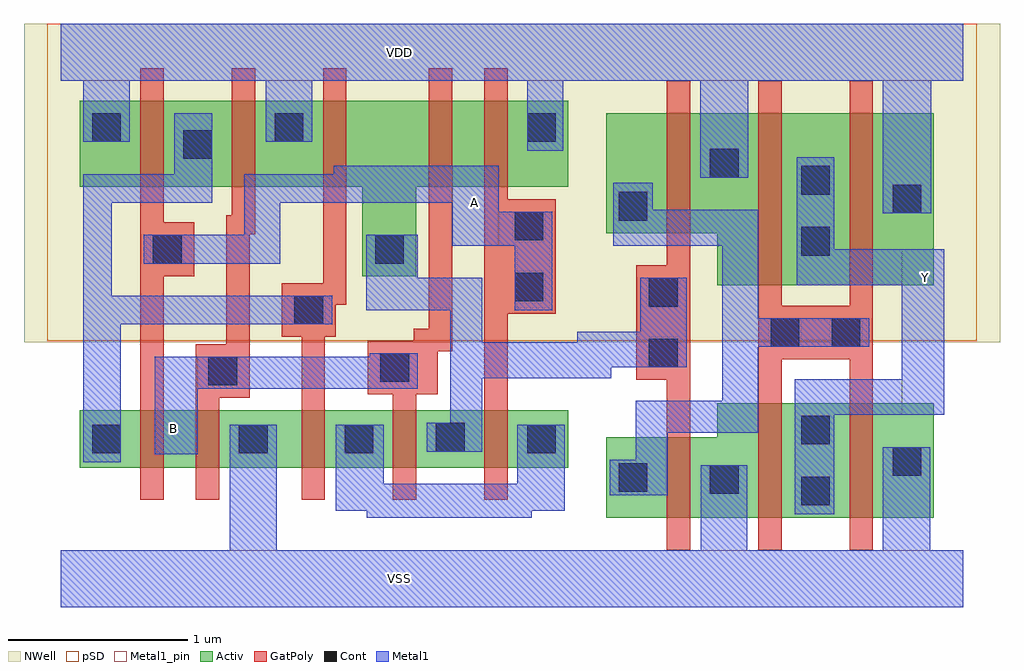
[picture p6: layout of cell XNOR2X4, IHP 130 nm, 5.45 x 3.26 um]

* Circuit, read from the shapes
.subckt XNOR2X4 A B VDD VSS Y
XM1 n1 A n2 VSUBS sg13_lv_nmos w=0.32u l=0.13u
XM2 VSS B n1 VSUBS sg13_lv_nmos w=0.32u l=0.13u
XM3 n3 n2 VSS VSUBS sg13_lv_nmos w=0.32u l=0.13u
XM4 n4 B n3 VSUBS sg13_lv_nmos w=0.32u l=0.13u
XM5 n3 A n4 VSUBS sg13_lv_nmos w=0.32u l=0.13u
XM6 VSS n4 n5 VSUBS sg13_lv_nmos w=0.45u l=0.13u
XM7 Y n5 VSS VSUBS sg13_lv_nmos w=0.64u l=0.13u m=2
XM8 n2 A VDD n6 sg13_lv_pmos w=0.48u l=0.13u
XM9 VDD B n2 n6 sg13_lv_pmos w=0.48u l=0.13u
XM10 n4 n2 VDD n6 sg13_lv_pmos w=0.48u l=0.13u
XM11 n7 B n4 n6 sg13_lv_pmos w=0.48u l=0.13u
XM12 VDD A n7 n6 sg13_lv_pmos w=0.48u l=0.13u
XM13 VDD n4 n5 n6 sg13_lv_pmos w=0.67u l=0.13u
XM14 Y n5 VDD n6 sg13_lv_pmos w=0.96u l=0.13u m=2
.ends

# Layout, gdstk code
import gdstk
lib = gdstk.Library(unit=1e-6, precision=1e-09)
def R(c, l, rs):  # rectangles x0, y0, x1, y1
    for r in rs: c.add(gdstk.rectangle(r[:2], r[2:], *l))
def P(c, l, *ps):  # polygons
    for p in ps: c.add(gdstk.Polygon(p, *l))
Activ = (1, 0)
GatPoly = (5, 0)
Cont = (6, 0)
Metal1 = (8, 0)
Metal1_pin = (8, 2)
pSD = (14, 0)
NWell = (31, 0)

xnor2x4 = lib.new_cell('XNOR2X4')
R(xnor2x4, Activ, [(0.105,0.62,2.835,0.94)])
P(xnor2x4, Activ, [(3.045,0.34),(3.045,0.79),(3.665,0.79),(3.665,0.98),(4.875,0.98),(4.875,0.34)],
  [(3.665,1.64),(3.665,1.93),(3.045,1.93),(3.045,2.6),(4.875,2.6),(4.875,1.64)],
  [(1.685,1.69),(1.685,2.19),(0.105,2.19),(0.105,2.67),(2.835,2.67),(2.835,2.19),(1.985,2.19),(1.985,1.69)])
P(xnor2x4, GatPoly, [(3.895,0.16),(3.895,2.78),(4.025,2.78),(4.025,1.525),(4.405,1.525),(4.405,2.78),(4.535,2.78),(4.535,0.16),(4.405,0.16),(4.405,1.225),(4.025,1.225),(4.025,0.16)],
  [(2.365,0.44),(2.365,2.85),(2.495,2.85),(2.495,2.12),(2.765,2.12),(2.765,1.48),(2.495,1.48),(2.495,0.44)],
  [(1.855,0.44),(1.855,1.03),(1.715,1.03),(1.715,1.33),(1.97,1.33),(1.97,1.395),(2.055,1.395),(2.055,2.85),(2.185,2.85),(2.185,1.27),(2.105,1.27),(2.105,1.03),(1.985,1.03),(1.985,0.44)],
  [(1.345,0.44),(1.345,1.35),(1.235,1.35),(1.235,1.65),(1.465,1.65),(1.465,2.85),(1.595,2.85),(1.595,1.53),(1.535,1.53),(1.535,1.35),(1.475,1.35),(1.475,0.44)],
  [(3.385,0.16),(3.385,1.11),(3.215,1.11),(3.215,1.75),(3.385,1.75),(3.385,2.78),(3.515,2.78),(3.515,0.16)],
  [(0.755,0.44),(0.755,1.31),(0.925,1.31),(0.925,2.03),(0.955,2.03),(0.955,2.85),(1.085,2.85),(1.085,1.925),(1.055,1.925),(1.055,1.01),(0.885,1.01),(0.885,0.44)],
  [(0.445,0.44),(0.445,2.85),(0.575,2.85),(0.575,1.99),(0.745,1.99),(0.745,1.69),(0.575,1.69),(0.575,0.44)])
R(xnor2x4, Cont, [(4.135,0.41,4.295,0.57), (3.625,0.475,3.785,0.635), (3.115,0.485,3.275,0.645), (4.645,0.575,4.805,0.735), (0.175,0.7,0.335,0.86), (0.995,0.7,1.155,0.86), (1.585,0.7,1.745,0.86), (2.605,0.7,2.765,0.86), (2.095,0.71,2.255,0.87), (4.135,0.75,4.295,0.91), (0.825,1.08,0.985,1.24), (1.785,1.1,1.945,1.26), (3.285,1.18,3.445,1.34), (3.965,1.295,4.125,1.455), (4.305,1.295,4.465,1.455), (1.305,1.42,1.465,1.58), (3.285,1.52,3.445,1.68), (2.535,1.55,2.695,1.71), (0.515,1.76,0.675,1.92), (1.755,1.76,1.915,1.92), (4.135,1.805,4.295,1.965), (2.535,1.89,2.695,2.05), (3.115,2,3.275,2.16), (4.645,2.04,4.805,2.2), (4.135,2.145,4.295,2.305), (3.625,2.24,3.785,2.4), (0.685,2.345,0.845,2.505), (0.175,2.44,0.335,2.6), (1.195,2.44,1.355,2.6), (2.605,2.44,2.765,2.6)])
P(xnor2x4, Metal1, [(4.1,0.36),(4.1,1.115),(4.695,1.115),(4.695,1.64),(4.11,1.64),(4.11,2.355),(4.32,2.355),(4.32,1.84),(4.935,1.84),(4.935,0.915),(4.32,0.915),(4.32,0.36)],
  [(0,-0.16),(0,0.16),(0.945,0.16),(0.945,0.86),(1.205,0.86),(1.205,0.16),(3.575,0.16),(3.575,0.635),(3.835,0.635),(3.835,0.16),(4.59,0.16),(4.59,0.735),(4.855,0.735),(4.855,0.16),(5.04,0.16),(5.04,-0.16)],
  [(3.065,0.465),(3.065,0.665),(3.21,0.665),(3.21,0.995),(3.695,0.995),(3.695,1.86),(3.085,1.86),(3.085,2.21),(3.305,2.21),(3.305,2.06),(3.895,2.06),(3.895,1.455),(4.515,1.455),(4.515,1.295),(3.895,1.295),(3.895,0.815),(3.39,0.815),(3.39,0.465)],
  [(2.045,0.71),(2.045,0.87),(2.175,0.87),(2.175,1.5),(1.705,1.5),(1.705,1.92),(1.995,1.92),(1.995,1.68),(2.355,1.68),(2.355,1.32),(2.885,1.32),(2.885,1.38),(3.235,1.38),(3.235,1.68),(3.495,1.68),(3.495,1.18),(3.075,1.18),(3.075,1.12),(2.355,1.12),(2.355,0.71)],
  [(1.71,0.34),(1.71,0.38),(1.535,0.38),(1.535,0.86),(1.805,0.86),(1.805,0.53),(2.55,0.53),(2.55,0.86),(2.815,0.86),(2.815,0.38),(2.63,0.38),(2.63,0.34)],
  [(4.59,2.04),(4.59,2.78),(3.84,2.78),(3.84,2.24),(3.57,2.24),(3.57,2.78),(2.805,2.78),(2.805,2.39),(2.605,2.39),(2.605,2.78),(1.405,2.78),(1.405,2.44),(1.145,2.44),(1.145,2.78),(0.385,2.78),(0.385,2.44),(0.125,2.44),(0.125,2.78),(0,2.78),(0,3.1),(5.04,3.1),(5.04,2.78),(4.86,2.78),(4.86,2.04)],
  [(2.535,1.5),(2.535,1.86),(2.185,1.86),(2.185,2.1),(1.225,2.1),(1.225,1.76),(0.465,1.76),(0.465,1.92),(1.025,1.92),(1.025,2.26),(1.525,2.26),(1.525,2.305),(2.445,2.305),(2.445,2.05),(2.745,2.05),(2.745,1.5)],
  [(0.525,0.695),(0.525,1.24),(1.725,1.24),(1.725,1.26),(1.995,1.26),(1.995,1.06),(0.765,1.06),(0.765,0.695)],
  [(0.125,0.65),(0.125,2.26),(0.635,2.26),(0.635,2.6),(0.845,2.6),(0.845,2.1),(0.285,2.1),(0.285,1.58),(1.515,1.58),(1.515,1.42),(0.335,1.42),(0.335,0.65)])
R(xnor2x4, Metal1_pin, [(0,-0.16,5.04,0.16), (0.525,0.695,0.765,1.24), (4.695,0.915,4.935,1.84), (2.185,1.86,2.445,2.305), (0,2.78,5.04,3.1)])
R(xnor2x4, pSD, [(-0.075,1.33,5.115,3.1)])
R(xnor2x4, NWell, [(-0.205,1.32,5.245,3.1)])
xnor2x4.add(gdstk.Label('VSS', (1.89,0), layer=8, texttype=25))
xnor2x4.add(gdstk.Label('VDD', (1.89,2.94), layer=8, texttype=25))
xnor2x4.add(gdstk.Label('A', (2.31,2.1), layer=8, texttype=25))
xnor2x4.add(gdstk.Label('B', (0.63,0.84), layer=8, texttype=25))
xnor2x4.add(gdstk.Label('Y', (4.83,1.68), layer=8, texttype=25))

lib.write_gds('XNOR2X4.gds')
